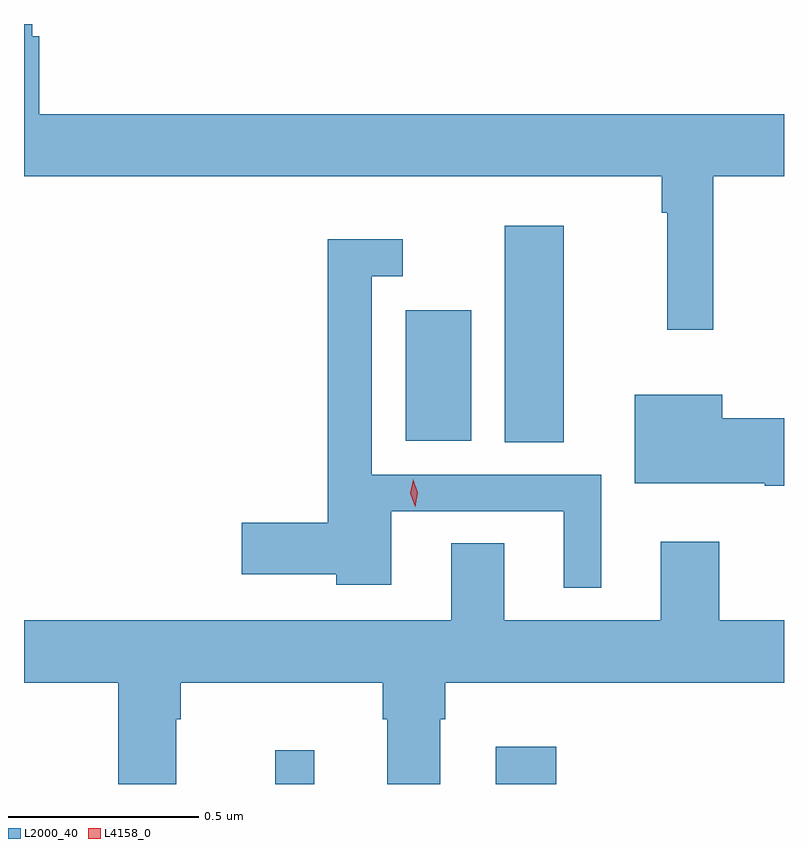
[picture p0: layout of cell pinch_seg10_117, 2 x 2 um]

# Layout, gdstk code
import gdstk
lib = gdstk.Library(unit=1e-6, precision=1e-09)
def R(c, l, rs):  # rectangles x0, y0, x1, y1
    for r in rs: c.add(gdstk.rectangle(r[:2], r[2:], *l))
def P(c, l, *ps):  # polygons
    for p in ps: c.add(gdstk.Polygon(p, *l))
L2000_40 = (2000, 40)
L4158_0 = (4158, 0)

pinch_seg10_117 = lib.new_cell('pinch_seg10_117')
R(pinch_seg10_117, L2000_40, [(658.486,1304.045,658.589,1304.134), (659.066,1304.045,659.225,1304.143), (659.09,1304.944,659.245,1305.514), (658.829,1304.948,659.002,1305.292)])
P(pinch_seg10_117, L2000_40, [(659.639,1305.644),(659.825,1305.644),(659.825,1305.808),(657.865,1305.808),(657.865,1306.013),(657.847,1306.013),(657.847,1306.045),(657.825,1306.045),(657.825,1305.644),(659.503,1305.644),(659.503,1305.548),(659.518,1305.548),(659.518,1305.24),(659.639,1305.24)],
  [(659.344,1304.859),(658.74,1304.859),(658.74,1305.381),(658.822,1305.381),(658.822,1305.478),(658.624,1305.478),(658.624,1304.732),(658.398,1304.732),(658.398,1304.597),(658.647,1304.597),(658.647,1304.57),(658.792,1304.57),(658.792,1304.763),(659.246,1304.763),(659.246,1304.562),(659.344,1304.562)],
  [(659.825,1305.008),(659.662,1305.008),(659.662,1305.07),(659.432,1305.07),(659.432,1304.837),(659.774,1304.837),(659.774,1304.83),(659.825,1304.83)],
  [(658.225,1304.216),(658.238,1304.216),(658.238,1304.312),(658.769,1304.312),(658.769,1304.216),(658.781,1304.216),(658.781,1304.045),(658.921,1304.045),(658.921,1304.216),(658.934,1304.216),(658.934,1304.312),(659.825,1304.312),(659.825,1304.476),(659.654,1304.476),(659.654,1304.683),(659.501,1304.683),(659.501,1304.476),(659.089,1304.476),(659.089,1304.678),(658.949,1304.678),(658.949,1304.476),(657.825,1304.476),(657.825,1304.312),(658.073,1304.312),(658.073,1304.045),(658.225,1304.045)])
P(pinch_seg10_117, L4158_0, [(658.854,1304.774),(658.854,1304.774),(658.841,1304.81),(658.849,1304.846),(658.849,1304.847),(658.849,1304.846),(658.861,1304.811),(658.854,1304.774)])

lib.write_gds('pinch_seg10_117.gds')
